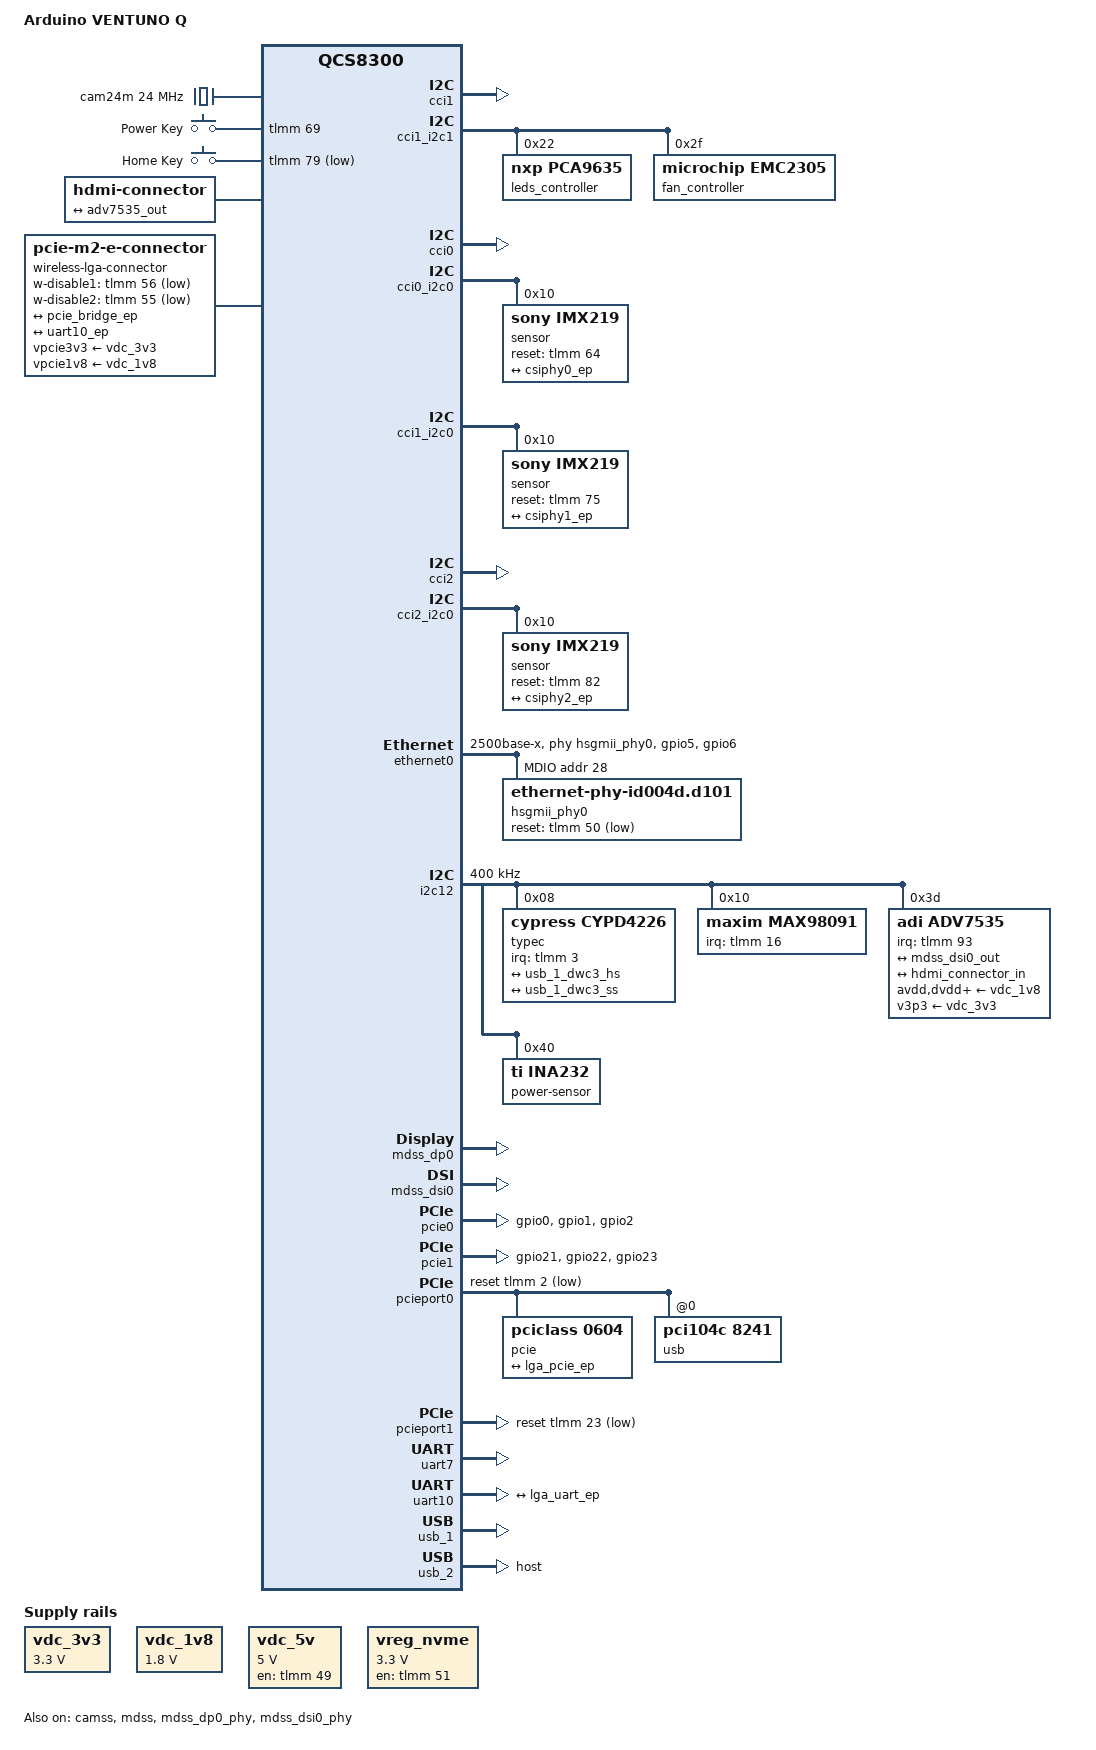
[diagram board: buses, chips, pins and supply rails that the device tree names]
// SPDX-License-Identifier: BSD-3-Clause
/*
 * Copyright (c) Qualcomm Technologies, Inc. and/or its subsidiaries.
 */

/dts-v1/;

#include <dt-bindings/gpio/gpio.h>
#include <dt-bindings/input/input.h>
#include <dt-bindings/leds/common.h>
#include <dt-bindings/pwm/pwm.h>
#include <dt-bindings/sound/qcom,q6dsp-lpass-ports.h>

#include "monaco.dtsi"
#include "monaco-pmics.dtsi"
#include "monaco-monza-som.dtsi"

/ {
	model = "Arduino VENTUNO Q";
	compatible = "arduino,monza", "qcom,qcs8300";

	aliases {
		ethernet0 = &ethernet0;
		i2c0 = &i2c0;
		i2c1 = &i2c1;
		serial0 = &uart7;
		spi0 = &spi3;
	};

	chosen {
		stdout-path = "serial0:115200n8";
	};

        cam24m: cam-clk {
                compatible = "fixed-clock";
                #clock-cells = <0>;
                clock-frequency = <24000000>;
                clock-output-names = "cam24m";
        };

	gpio-keys {
		compatible = "gpio-keys";
		pinctrl-0 = <&gpio_keys_default>;
		pinctrl-names = "default";

		button-power {
			label = "Power Key";
			linux,code = <KEY_SLEEP>;
			gpios = <&tlmm 69 GPIO_ACTIVE_HIGH>;
			debounce-interval = <60>;
			wakeup-source;
		};

		button-home {
			label = "Home Key";
			linux,code = <KEY_HOMEPAGE>;
			gpios = <&tlmm 79 GPIO_ACTIVE_LOW>;
			debounce-interval = <60>;
			wakeup-source;
		};
	};

	hdmi-connector {
		compatible = "hdmi-connector";
		label = "hdmi";
		type = "a";

		port {
			hdmi_connector_in: endpoint {
				remote-endpoint = <&adv7535_out>;
			};
		};
	};

	sound: sound {
		compatible = "qcom,qcs8275-sndcard";
		model = "arduino-monza";
		audio-routing = "IN12",  "Headset Mic12",
				"Headset Mic12",  "MICBIAS",
				"IN56",  "Headset Mic56",
				"Headset Mic56",  "MICBIAS",
				"MIC1",  "MICBIAS",
				"Headphone",  "HPL",
				"Headphone",  "HPR",
				"Receiver",  "RCVL",
				"Receiver",  "RCVR",
				"Speaker",  "SPKL",
				"Speaker",  "SPKR";

		pinctrl-0 = <&quad_mi2s_active>, <&quad_mclk_active>,  <&lpi_i2s4_active>;
		pinctrl-names = "default";

		pri-i2s-playback-dai-link {
			link-name = "Analog Playback";

			codec {
				sound-dai = <&max98091>;
			};

			cpu {
				sound-dai = <&q6apmbedai 137>;
			};

			platform {
				sound-dai = <&q6apm>;
			};
		};

		pri-i2s-capture-dai-link {
			link-name = "Analog Capture";

			codec {
				sound-dai = <&max98091>;
			};

			cpu {
				sound-dai = <&q6apmbedai 138>;
			};

			platform {
				sound-dai = <&q6apm>;
			};
		};

		hdmi-mi2s-playback-dai-link {
			link-name = "HDMI Playback";

			codec {
				sound-dai = <&adv7535>;
			};

			cpu {
				sound-dai = <&q6apmbedai 145>;
			};

			platform {
				sound-dai = <&q6apm>;
			};
		};

		displayport-0-dai-link {
			link-name = "DisplayPort0 Playback";

			codec {
				sound-dai = <&mdss_dp0>;
			};

			cpu {
				sound-dai = <&q6apmbedai DISPLAY_PORT_RX_0>;
			};

			platform {
				sound-dai = <&q6apm>;
			};
		};
	};

	vdc_3v3: regulator-3v3 {
		compatible = "regulator-fixed";
		regulator-name = "vdc_3v3";
		regulator-min-microvolt = <3300000>;
		regulator-max-microvolt = <3300000>;
	};

	vdc_1v8: regulator-1v8 {
		compatible = "regulator-fixed";
		regulator-name = "vdc_1v8";
		regulator-min-microvolt = <1800000>;
		regulator-max-microvolt = <1800000>;
	};

	vdc_5v: regulator-5v0 {
		compatible = "regulator-fixed";
		regulator-name = "vdc_5v";
		regulator-min-microvolt = <5000000>;
		regulator-max-microvolt = <5000000>;
		gpio = <&tlmm 49 GPIO_ACTIVE_HIGH>;
		enable-active-high;
		regulator-always-on;
		startup-delay-us = <20000>;
	};

	vreg_nvme: regulator-3p3-m2 {
		compatible = "regulator-fixed";
		regulator-name = "vreg_m2_3p3";
		regulator-min-microvolt = <3300000>;
		regulator-max-microvolt = <3300000>;
		gpio = <&tlmm 51 GPIO_ACTIVE_HIGH>;
		enable-active-high;
		startup-delay-us = <20000>;
	};

	wireless-lga-connector {
		compatible = "pcie-m2-e-connector";
		vpcie3v3-supply = <&vdc_3v3>;
		vpcie1v8-supply = <&vdc_1v8>;
		w-disable1-gpios = <&tlmm 56 GPIO_ACTIVE_LOW>;
		w-disable2-gpios = <&tlmm 55 GPIO_ACTIVE_LOW>;
		pinctrl-0 = <&nfa725b_default_state>;
		pinctrl-names = "default";

		ports {
			#address-cells = <1>;
			#size-cells = <0>;

			/* WiFi/PCIe */
			port@0 {
				reg = <0>;

				lga_pcie_ep: endpoint {
					remote-endpoint = <&pcie_bridge_ep>;
				};
			};

			/* Bluetooth/UART */
			port@3 {
				reg = <3>;

				lga_uart_ep: endpoint {
					remote-endpoint = <&uart10_ep>;
				};
			};
		};
	};
};

&cci1 {
	status = "okay";
};

&cci1_i2c1 {
	leds_controller: leds-controller@22 {
		compatible = "nxp,pca9635";
		#address-cells = <1>;
		#size-cells = <0>;
		reg = <0x22>;

		multi-led@0 {
			reg = <0>;
			label = "stm-led-1";
			color = <LED_COLOR_ID_RGB>;
			function = LED_FUNCTION_STATUS;
			#address-cells = <1>;
			#size-cells = <0>;

			led@0 {
				reg = <0>;
				color = <LED_COLOR_ID_RED>;
			};

			led@1 {
				reg = <1>;
				color = <LED_COLOR_ID_GREEN>;
			};

			led@2 {
				reg = <2>;
				color = <LED_COLOR_ID_BLUE>;
			};
		};

		multi-led@1 {
			reg = <1>;
			label = "stm-led-2";
			color = <LED_COLOR_ID_RGB>;
			function = LED_FUNCTION_STATUS;
			#address-cells = <1>;
			#size-cells = <0>;

			led@3 {
				reg = <3>;
				color = <LED_COLOR_ID_RED>;
			};

			led@4 {
				reg = <4>;
				color = <LED_COLOR_ID_GREEN>;
			};

			led@5 {
				reg = <5>;
				color = <LED_COLOR_ID_BLUE>;
			};
		};

		multi-led@2 {
			reg = <2>;
			label = "stm-led-3";
			color = <LED_COLOR_ID_RGB>;
			function = LED_FUNCTION_STATUS;
			#address-cells = <1>;
			#size-cells = <0>;

			led@6 {
				reg = <6>;
				color = <LED_COLOR_ID_RED>;
			};

			led@7 {
				reg = <7>;
				color = <LED_COLOR_ID_GREEN>;
			};

			led@8 {
				reg = <8>;
				color = <LED_COLOR_ID_BLUE>;
			};
		};

		multi-led@3 {
			reg = <3>;
			label = "stm-led-4";
			color = <LED_COLOR_ID_RGB>;
			function = LED_FUNCTION_STATUS;
			#address-cells = <1>;
			#size-cells = <0>;

			led@9 {
				reg = <9>;
				color = <LED_COLOR_ID_RED>;
			};

			led@10 {
				reg = <10>;
				color = <LED_COLOR_ID_GREEN>;
			};

			led@11 {
				reg = <11>;
				color = <LED_COLOR_ID_BLUE>;
			};
		};
	};

	fan_controller: fan-controller@2f {
		compatible = "microchip,emc2305";
		reg = <0x2f>;
		#address-cells = <1>;
		#size-cells = <0>;
		#pwm-cells = <3>;

		fan: fan@0 {
			reg = <0x0>;
			pwms = <&fan_controller 26000 PWM_POLARITY_INVERTED 1>;
			#cooling-cells = <2>;
		};
	};
};

&camss {
	vdda-phy-supply = <&vreg_l4a>;
	vdda-pll-supply = <&vreg_l5a>;

	status = "okay";

	ports {
		#address-cells = <1>;
		#size-cells = <0>;

		port@0 {
			reg = <0>;

			csiphy0_ep: endpoint {
				data-lanes = <0 1 2 3>;
				remote-endpoint = <&imx219_0_ep>;
			};
		};

		port@1 {
			reg = <1>;

			csiphy1_ep: endpoint {
				data-lanes = <0 1 2 3>;
				remote-endpoint = <&imx219_1_ep>;
			};
		};

		port@2 {
			reg = <2>;

			csiphy2_ep: endpoint {
				data-lanes = <0 1>;
				remote-endpoint = <&imx219_2_ep>;
			};
		};
	};
};

&cci0 {
	status = "okay";
};

&cci0_i2c0 {
	#address-cells = <1>;
	#size-cells = <0>;

	sensor@10 {
		compatible = "sony,imx219";
		reg = <0x10>;
		clocks = <&cam24m>;
		status = "okay";

		reset-gpios = <&tlmm 64 GPIO_ACTIVE_HIGH>;

		port {
			/* MIPI CSI-2 bus endpoint */
			imx219_0_ep: endpoint {
				remote-endpoint = <&csiphy0_ep>;
				clock-lanes = <0>;
				data-lanes = <1 2 3 4>;
				link-frequencies = /bits/ 64 <364000000>;
			};
		};
	};
};

&cci1 {
	status = "okay";
};

&cci1_i2c0 {
	#address-cells = <1>;
	#size-cells = <0>;

	sensor@10 {
		compatible = "sony,imx219";
		reg = <0x10>;
		clocks = <&cam24m>;
		status = "okay";

		reset-gpios = <&tlmm 75 GPIO_ACTIVE_HIGH>;

		port {
			/* MIPI CSI-2 bus endpoint */
			imx219_1_ep: endpoint {
				remote-endpoint = <&csiphy1_ep>;
				clock-lanes = <0>;
				data-lanes = <1 2 3 4>;
				link-frequencies = /bits/ 64 <364000000>;
			};
		};
	};
};

&cci2 {
	status = "okay";
};

&cci2_i2c0 {
	#address-cells = <1>;
	#size-cells = <0>;

	sensor@10 {
		compatible = "sony,imx219";
		reg = <0x10>;
		clocks = <&cam24m>;
		status = "okay";

		reset-gpios = <&tlmm 82 GPIO_ACTIVE_HIGH>;

		port {
			/* MIPI CSI-2 bus endpoint */
			imx219_2_ep: endpoint {
				remote-endpoint = <&csiphy2_ep>;
				clock-lanes = <0>;
				data-lanes = <1 2>;
				link-frequencies = /bits/ 64 <456000000>;
			};
		};
	};
};

&ethernet0 {
	phy-mode = "2500base-x";
	phy-handle = <&hsgmii_phy0>;

	pinctrl-0 = <&ethernet0_default>;
	pinctrl-names = "default";

	snps,mtl-rx-config = <&mtl_rx_setup>;
	snps,mtl-tx-config = <&mtl_tx_setup>;

	status = "okay";

	mdio {
		compatible = "snps,dwmac-mdio";
		#address-cells = <1>;
		#size-cells = <0>;

		hsgmii_phy0: ethernet-phy@1c {
			compatible = "ethernet-phy-id004d.d101";
			reg = <0x1c>;
			reset-gpios = <&tlmm 50 GPIO_ACTIVE_LOW>;
			reset-assert-us = <11000>;
			reset-deassert-us = <70000>;
		};
	};

	mtl_rx_setup: rx-queues-config {
		snps,rx-queues-to-use = <4>;
		snps,rx-sched-sp;

		queue0 {
			snps,dcb-algorithm;
			snps,map-to-dma-channel = <0x0>;
			snps,route-up;
			snps,priority = <0x1>;
		};

		queue1 {
			snps,dcb-algorithm;
			snps,map-to-dma-channel = <0x1>;
			snps,route-ptp;
		};

		queue2 {
			snps,avb-algorithm;
			snps,map-to-dma-channel = <0x2>;
			snps,route-avcp;
		};

		queue3 {
			snps,avb-algorithm;
			snps,map-to-dma-channel = <0x3>;
			snps,priority = <0xc>;
		};
	};

	mtl_tx_setup: tx-queues-config {
		snps,tx-queues-to-use = <4>;

		queue0 {
			snps,dcb-algorithm;
		};

		queue1 {
			snps,dcb-algorithm;
		};

		queue2 {
			snps,avb-algorithm;
			snps,send_slope = <0x1000>;
			snps,idle_slope = <0x1000>;
			snps,high_credit = <0x3e800>;
			snps,low_credit = <0xffc18000>;
		};

		queue3 {
			snps,avb-algorithm;
			snps,send_slope = <0x1000>;
			snps,idle_slope = <0x1000>;
			snps,high_credit = <0x3e800>;
			snps,low_credit = <0xffc18000>;
		};
	};
};

&i2c12 {
	clock-frequency = <400000>;

	status = "okay";

	typec@8 {
		compatible = "cypress,cypd4226";
		reg = <0x08>;
		pinctrl-0 = <&typec_default_state>;
		pinctrl-names = "default";
		interrupts-extended = <&tlmm 3 IRQ_TYPE_LEVEL_LOW>;

		#address-cells = <1>;
		#size-cells = <0>;

		connector@0 {
			compatible = "usb-c-connector";
			reg = <0>;
			label = "USB-C";
			data-role = "dual";
			power-role = "dual";

			ports {
				#address-cells = <1>;
				#size-cells = <0>;

				port@0 {
					reg = <0>;

					ucsi_hs_ccg_p0: endpoint {
						remote-endpoint = <&usb_1_dwc3_hs>;
					};
				};

				port@1 {
					reg = <1>;

					ucsi_ss_ccg_p0: endpoint {
						remote-endpoint = <&usb_1_dwc3_ss>;
					};
				};
			};
		};
	};

	max98091: audio-codec@10 {
		compatible = "maxim,max98091";
		reg = <0x10>;
		pinctrl-0 = <&max98091_default>;
		pinctrl-names = "default";
		interrupts-extended = <&tlmm 16 IRQ_TYPE_LEVEL_HIGH>; /* GPIO_16 */
		clocks = <&q6prmcc LPASS_CLK_ID_MCLK_3 LPASS_CLK_ATTRIBUTE_COUPLE_NO>;
		clock-names = "mclk";
		#sound-dai-cells = <0>;
	};

	adv7535: bridge@3d {
		compatible = "adi,adv7535";
		reg = <0x3d>;
		pinctrl-0 = <&adv7535_default>;
		pinctrl-names = "default";
		interrupts-extended = <&tlmm 93 IRQ_TYPE_EDGE_FALLING>;
		avdd-supply = <&vdc_1v8>;
		dvdd-supply = <&vdc_1v8>;
		pvdd-supply = <&vdc_1v8>;
		a2vdd-supply = <&vdc_1v8>;
		v3p3-supply = <&vdc_3v3>;
		v1p2-supply = <&vdc_1v8>;
		adi,dsi-lanes = <4>;
		#sound-dai-cells = <0>;

		ports {
			#address-cells = <1>;
			#size-cells = <0>;

			port@0 {
				reg = <0>;
				adv7535_in: endpoint {
					remote-endpoint = <&mdss_dsi0_out>;
				};
			};

			port@1 {
				reg = <1>;
				adv7535_out: endpoint {
					remote-endpoint = <&hdmi_connector_in>;
				};
			};
		};
	};

	power-sensor@40 {
		compatible = "ti,ina232";
		reg = <0x40>;
		shunt-resistor = <2000>;
	};
};

&mdss {
	status = "okay";
};

&mdss_dp0 {
	status = "okay";
};

&mdss_dp0_out {
	data-lanes = <0 1 2 3>;
	link-frequencies = /bits/ 64 <1620000000 2700000000 5400000000 8100000000>;
};

&mdss_dp0_phy {
	status = "okay";
};

&mdss_dsi0 {
	status = "okay";
};

&mdss_dsi0_out {
	remote-endpoint = <&adv7535_in>;
	data-lanes = <0 1 2 3>;
};

&mdss_dsi0_phy {
	status = "okay";
};

&pcie0 {
	pinctrl-0 = <&pcie0_default_state>;
	pinctrl-names = "default";

	vddpe-3v3-supply = <&vdc_3v3>;
};

&pcie1 {
	pinctrl-0 = <&pcie1_default_state>;
	pinctrl-names = "default";

	vddpe-3v3-supply = <&vreg_nvme>;
};

&pcieport0 {
	reset-gpios = <&tlmm 2 GPIO_ACTIVE_LOW>;

	pci@0,0 {
		#address-cells = <3>;
		#size-cells = <2>;
		device_type = "pci";
		bus-range = <0x01 0xff>;
		ranges;
		reg = <0x010000 0x00 0x00 0x00 0x00>;

		pcie@1,0 {
			#address-cells = <3>;
			#size-cells = <2>;
			device_type = "pci";
			compatible = "pciclass,0604";
			bus-range = <0x00 0xff>;
			ranges;
			reg = <0x020800 0x00 0x00 0x00 0x00>;

			port {
				pcie_bridge_ep: endpoint {
					remote-endpoint = <&lga_pcie_ep>;
				};
			};
		};

		pci@2,0 {
			#address-cells = <3>;
			#size-cells = <2>;
			device_type = "pci";
			bus-range = <0x00 0xff>;
			ranges;
			reg = <0x021000 0x00 0x00 0x00 0x00>;

			usb@0 {
				compatible = "pci104c,8241";
				reg = <0 0 0 0 0>;
				ti,pwron-active-high;
			};
		};
	};
};

&pcieport1 {
	reset-gpios = <&tlmm 23 GPIO_ACTIVE_LOW>;
};

&thermal_zones {
	cpuss-0-0-thermal {
		/*
		 * Ladder of active trips that each pin the fan to a fixed
		 * cooling state (lower == upper in the cooling-maps). This
		 * makes the fan speed a function of the actual temperature
		 * band instead of the thermal trend: with the default
		 * step_wise governor a single "active .. THERMAL_NO_LIMIT"
		 * map only ramps the speed up/down one step per poll based on
		 * whether the temperature is rising or falling. The multiple
		 * trips also give the tsens hardware several thresholds to
		 * raise an interrupt on, so the fan is re-evaluated whenever
		 * the temperature crosses a band boundary. The zone is purely
		 * interrupt driven, so no polling-delay is set.
		 */
		trips {
			cpuss0_active0: cpuss-active0 {
				temperature = <50000>;
				hysteresis = <4000>;
				type = "active";
			};

			cpuss0_active1: cpuss-active1 {
				temperature = <60000>;
				hysteresis = <4000>;
				type = "active";
			};

			cpuss0_active2: cpuss-active2 {
				temperature = <70000>;
				hysteresis = <4000>;
				type = "active";
			};

			cpuss0_active3: cpuss-active3 {
				temperature = <80000>;
				hysteresis = <4000>;
				type = "active";
			};
		};

		cooling-maps {
			map-active0 {
				trip = <&cpuss0_active0>;
				cooling-device = <&fan 4 4>;
			};

			map-active1 {
				trip = <&cpuss0_active1>;
				cooling-device = <&fan 6 6>;
			};

			map-active2 {
				trip = <&cpuss0_active2>;
				cooling-device = <&fan 8 8>;
			};

			map-active3 {
				trip = <&cpuss0_active3>;
				cooling-device = <&fan 10 10>;
			};
		};
	};
};

&tlmm {
	gpio-line-names = "", "", "", "", "",
			  "", "", "", "", "",
			  "JMISC_SPI_MISO", "JMISC_SPI_MOSI", "JMISC_SPI_SCK", "JMISC_SPI_CS0", "JMISC_SPI_CS1",
			  "JMISC_CS2", "", "JHAT_P03_I2C_SDA", "JHAT_P05_I2C_SCL", "JHAT_P27_EEPROM_SDA",
			  "JHAT_P28_EEPROM_SDL", "", "", "", "",
			  "JHAT_P21_SPI_MISO", "JHAT_P19_SPI_MOSI", "JHAT_P23_SPI_SCLK", "JHAT_P24_SPI_CE0", "",
			  "", "MCU_I2C1_SDA", "MCU_I2C1_SDL", "", "",
			  "", "", "JOMEGA_SPI_SCK", "JOMEGA_SPI_CS", "JOMEGA_SPI_MISO",
			  "JOMEGA_SPI_MOSI", "", "MCU_PG11", "JCTL_UART_DBG_TX", "JCTL_UART_DBG_RX", /* GPIO 40->44 */
			  "", "", "MCU_BOOT0", "CYPD_SWCLK", "",
			  "", "", "FORCE_USB_BOOT", "", "",
			  "", "", "JMEDIA_SOC_CC0_SDA", "JMEDIA_SOC_CC0_SCL", "JMEDIA_SOC_CC1_SDA",
			  "JMEDIA_SOC_CC1_SCL", "", "", "MCU_PG12", "",
			  "FLAT0_P17_GPIO", "", "JMEDIA_SOC_CAM_MCLK0", "JMEDIA_SOC_CAM_MCLK1", "MCU_PG9", /* GPIO 65->69 */
			  "MCU_PA13_SWDIO", "MCU_PA14_SWCLK", "", "JMISC_SOC_GPIO_0", "JMISC_SOC_GPIO_1",
			  "FLAT1_P17_GPIO", "", "JHAT_P32_PWM0", "MCU_NRST", "USER_BUTTON", /* GPIO 75->79 */
			  "JHAT_P31_GPIO", "JHAT_P33_GPIO",  "FLAT2_P17_GPIO", "JHAT_P07_GPCLK0", "JHAT_P36_UART_CTS",
			  "JHAT_P11_UART_RFR", "JHAT_P08_UART_TX", "JHAT_P10_UART_RX", "JHAT_P26_SPI_CE1", "JHAT_P29_GPIO",
			  "JHAT_P15_GPIO", "", "MCU_PG10", "", "CYPD_SWDIO", /* GPIO 90->94 */
			  "MCU_PG13", "MCU_PG14", "", "", "",
			  "", "", "", "", "CYPD_NRES",
			  "JHAT_P16_GPIO", "JHAT_P18_GPIO", "JHAT_P22_GPIO", "JHAT_P37_GPIO", "JHAT_P13_GPIO",
			  "", "", "", "", "", /* GPIO 110->114 */
			  "", "JHAT_P12_PCM_CLK", "JHAT_P35_PCM_FS", "JHAT_P38_PCM_DIN", "JHAT_P40_PCM_DOUT";

	pcie0_default_state: pcie0-default-state {
		wake-pins {
			pins = "gpio0";
			function = "gpio";
			drive-strength = <2>;
			bias-pull-up;
		};

		clkreq-pins {
			pins = "gpio1";
			function = "pcie0_clkreq";
			drive-strength = <2>;
			bias-pull-up;
		};

		perst-pins {
			pins = "gpio2";
			function = "gpio";
			drive-strength = <2>;
			bias-pull-up;
		};
	};

	typec_default_state: typec-default-state {
		pins = "gpio3";
		function = "gpio";
		bias-disable;
	};

	ethernet0_default: ethernet0-default-state {
		ethernet0_mdc: ethernet0-mdc-pins {
			pins = "gpio5";
			function = "emac0_mdc";
			drive-strength = <16>;
			bias-pull-up;
		};

		ethernet0_mdio: ethernet0-mdio-pins {
			pins = "gpio6";
			function = "emac0_mdio";
			drive-strength = <16>;
			bias-pull-up;
		};
	};

	max98091_default: max98091-default-state {
		pins = "gpio16";
		function = "gpio";
		bias-pull-up;
	};

	nfa725b_default_state: nfa725b-default-state {
		pins = "gpio55", "gpio56";
		function = "gpio";
		bias-disable;
	};

	pcie1_default_state: pcie1-default-state {
		wake-pins {
			pins = "gpio21";
			function = "gpio";
			drive-strength = <2>;
			bias-pull-up;
		};

		clkreq-pins {
			pins = "gpio22";
			function = "pcie1_clkreq";
			drive-strength = <2>;
			bias-pull-up;
		};

		perst-pins {
			pins = "gpio23";
			function = "gpio";
			drive-strength = <2>;
			bias-pull-up;
		};
	};

	gpio_keys_default: gpio-keys-default-state {
		horizontal-button-pins {
			pins = "gpio69";
			function = "gpio";
			bias-pull-down;
		};

		vertical-button-pins {
			pins = "gpio79";
			function = "gpio";
			bias-disable;
		};
	};

	adv7535_default: adv7535-default-state {
		pins = "gpio93";
		function = "gpio";
		bias-pull-up;
	};
};

&uart7 {
	status = "okay";
};

&uart10 {
	status = "okay";

	port {
		uart10_ep: endpoint {
			remote-endpoint = <&lga_uart_ep>;
		};
	};
};

&usb_1 {
	status = "okay";
};

&usb_1_dwc3_hs {
	remote-endpoint = <&ucsi_hs_ccg_p0>;
};

&usb_1_dwc3_ss {
	remote-endpoint = <&ucsi_ss_ccg_p0>;
};

/* Internally connected to the MCU (e.g. for DFU). */
&usb_2 {
	dr_mode = "host";

	status = "okay";
};
